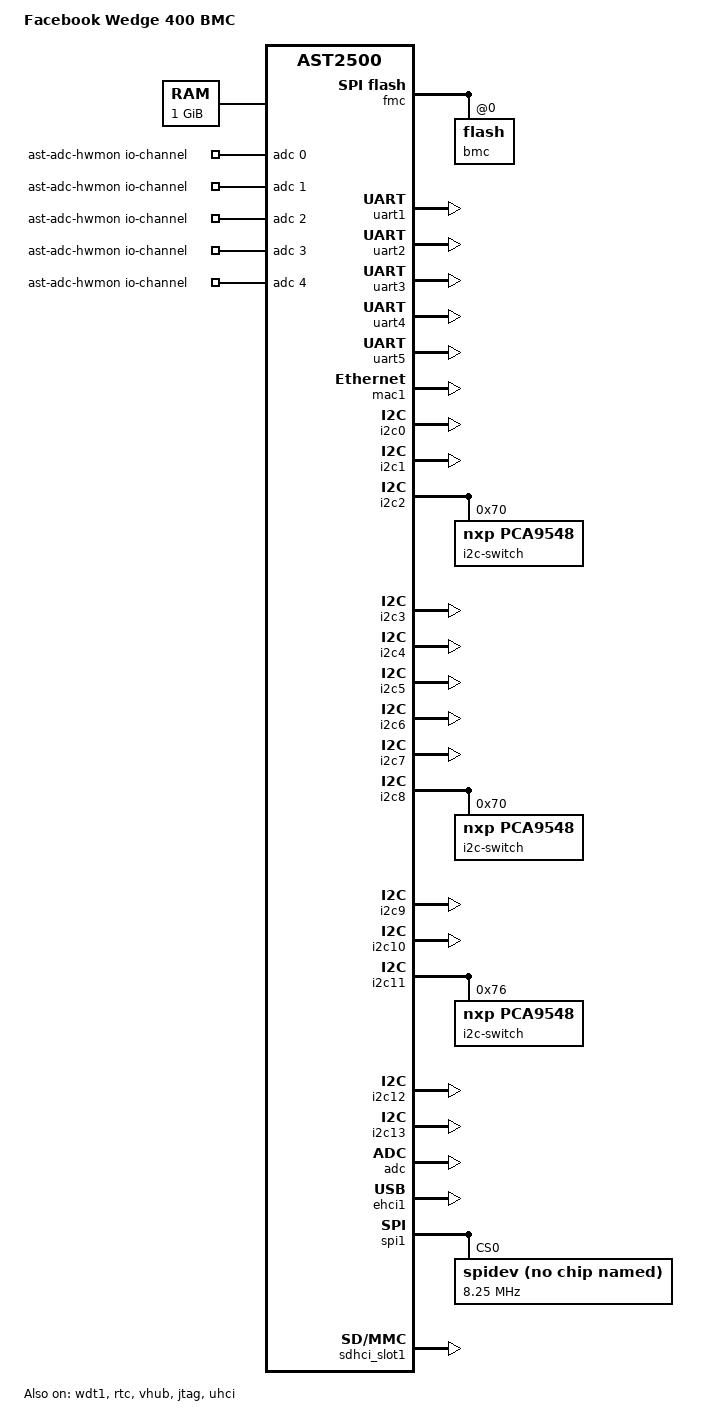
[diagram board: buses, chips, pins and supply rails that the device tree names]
// SPDX-License-Identifier: GPL-2.0+
// Copyright (c) 2019 Facebook Inc.
/dts-v1/;

#include "aspeed-g5.dtsi"
#include <dt-bindings/gpio/aspeed-gpio.h>

/ {
	model = "Facebook Wedge 400 BMC";
	compatible = "facebook,wedge400-bmc", "aspeed,ast2500";

	aliases {
		/*
		 * I2C switch 2-0070, pca9548, total 8 child channels
		 * assigned bus number 14-21.
		 */
		i2c14 = &imux14;
		i2c15 = &imux15;
		i2c16 = &imux16;
		i2c17 = &imux17;
		i2c18 = &imux18;
		i2c19 = &imux19;
		i2c20 = &imux20;
		i2c21 = &imux21;

		/*
		 * I2C switch 8-0070, pca9548, total 8 child channels
		 * assigned bus number 22-29.
		 */
		i2c22 = &imux22;
		i2c23 = &imux23;
		i2c24 = &imux24;
		i2c25 = &imux25;
		i2c26 = &imux26;
		i2c27 = &imux27;
		i2c28 = &imux28;
		i2c29 = &imux29;

		/*
		 * I2C switch 11-0076, pca9548, total 8 child channels
		 * assigned bus number 30-37.
		 */
		i2c30 = &imux30;
		i2c31 = &imux31;
		i2c32 = &imux32;
		i2c33 = &imux33;
		i2c34 = &imux34;
		i2c35 = &imux35;
		i2c36 = &imux36;
		i2c37 = &imux37;
	};

	chosen {
		stdout-path = &uart1;
		bootargs = "console=ttyS0,9600n8 root=/dev/ram rw";
	};

	memory@80000000 {
		reg = <0x80000000 0x40000000>;
	};

	ast-adc-hwmon {
		compatible = "iio-hwmon";
		io-channels = <&adc 0>, <&adc 1>, <&adc 2>, <&adc 3>,
			      <&adc 4>;
	};
};

&wdt1 {
	status = "okay";
	aspeed,reset-type = "system";
};

&wdt2 {
	status = "disabled";
};

&fmc {
	status = "okay";

	flash@0 {
		status = "okay";
		m25p,fast-read;
		label = "bmc";
#include "facebook-bmc-flash-layout.dtsi"
	};
};

&uart1 {
	status = "okay";
	pinctrl-names = "default";
	pinctrl-0 = <&pinctrl_txd1_default
		     &pinctrl_rxd1_default>;
};

&uart2 {
	status = "okay";
	pinctrl-names = "default";
	pinctrl-0 = <&pinctrl_txd2_default
		     &pinctrl_rxd2_default>;
};

&uart3 {
	status = "okay";
	pinctrl-names = "default";
	pinctrl-0 = <&pinctrl_txd3_default
		     &pinctrl_rxd3_default>;
};

&uart4 {
	status = "okay";
	pinctrl-names = "default";
	pinctrl-0 = <&pinctrl_txd4_default
		     &pinctrl_rxd4_default>;
};

&uart5 {
	status = "okay";
};

&mac1 {
	status = "okay";
	no-hw-checksum;
	pinctrl-names = "default";
	pinctrl-0 = <&pinctrl_rgmii2_default &pinctrl_mdio2_default>;
};

&i2c0 {
	status = "okay";
	multi-master;
	bus-frequency = <1000000>;
};

&i2c1 {
	status = "okay";
};

&i2c2 {
	status = "okay";

	i2c-switch@70 {
		compatible = "nxp,pca9548";
		#address-cells = <1>;
		#size-cells = <0>;
		reg = <0x70>;

		imux14: i2c@0 {
			#address-cells = <1>;
			#size-cells = <0>;
			reg = <0>;
		};

		imux15: i2c@1 {
			#address-cells = <1>;
			#size-cells = <0>;
			reg = <1>;
		};

		imux16: i2c@2 {
			#address-cells = <1>;
			#size-cells = <0>;
			reg = <2>;
		};

		imux17: i2c@3 {
			#address-cells = <1>;
			#size-cells = <0>;
			reg = <3>;
		};

		imux18: i2c@4 {
			#address-cells = <1>;
			#size-cells = <0>;
			reg = <4>;
		};

		imux19: i2c@5 {
			#address-cells = <1>;
			#size-cells = <0>;
			reg = <5>;
		};

		imux20: i2c@6 {
			#address-cells = <1>;
			#size-cells = <0>;
			reg = <6>;
		};

		imux21: i2c@7 {
			#address-cells = <1>;
			#size-cells = <0>;
			reg = <7>;
		};
	};
};

&i2c3 {
	status = "okay";
};

&i2c4 {
	status = "okay";
};

&i2c5 {
	status = "okay";
};

&i2c6 {
	status = "okay";
};

&i2c7 {
	status = "okay";
};

&i2c8 {
	status = "okay";

	i2c-switch@70 {
		compatible = "nxp,pca9548";
		#address-cells = <1>;
		#size-cells = <0>;
		reg = <0x70>;

		imux22: i2c@0 {
			#address-cells = <1>;
			#size-cells = <0>;
			reg = <0>;
		};

		imux23: i2c@1 {
			#address-cells = <1>;
			#size-cells = <0>;
			reg = <1>;
		};

		imux24: i2c@2 {
			#address-cells = <1>;
			#size-cells = <0>;
			reg = <2>;
		};

		imux25: i2c@3 {
			#address-cells = <1>;
			#size-cells = <0>;
			reg = <3>;
		};

		imux26: i2c@4 {
			#address-cells = <1>;
			#size-cells = <0>;
			reg = <4>;
		};

		imux27: i2c@5 {
			#address-cells = <1>;
			#size-cells = <0>;
			reg = <5>;
		};

		imux28: i2c@6 {
			#address-cells = <1>;
			#size-cells = <0>;
			reg = <6>;
		};

		imux29: i2c@7 {
			#address-cells = <1>;
			#size-cells = <0>;
			reg = <7>;
		};

	};
};

&i2c9 {
	status = "okay";
};

&i2c10 {
	status = "okay";
};

&i2c11 {
	status = "okay";

	i2c-switch@76 {
		compatible = "nxp,pca9548";
		#address-cells = <1>;
		#size-cells = <0>;
		reg = <0x76>;

		imux30: i2c@0 {
			#address-cells = <1>;
			#size-cells = <0>;
			reg = <0>;
		};

		imux31: i2c@1 {
			#address-cells = <1>;
			#size-cells = <0>;
			reg = <1>;
		};

		imux32: i2c@2 {
			#address-cells = <1>;
			#size-cells = <0>;
			reg = <2>;
		};

		imux33: i2c@3 {
			#address-cells = <1>;
			#size-cells = <0>;
			reg = <3>;
		};

		imux34: i2c@4 {
			#address-cells = <1>;
			#size-cells = <0>;
			reg = <4>;
		};

		imux35: i2c@5 {
			#address-cells = <1>;
			#size-cells = <0>;
			reg = <5>;
		};

		imux36: i2c@6 {
			#address-cells = <1>;
			#size-cells = <0>;
			reg = <6>;
		};

		imux37: i2c@7 {
			#address-cells = <1>;
			#size-cells = <0>;
			reg = <7>;
		};

	};
};

&i2c12 {
	status = "okay";
};

&i2c13 {
	status = "okay";
};

&adc {
	status = "okay";
};

&rtc {
	status = "okay";
};

&ehci1 {
	status = "okay";
};

&vhub {
	status = "okay";
};

&spi1 {
	status = "okay";
	compatible = "aspeed,ast2500-spi-master";

	spidev@0 {
		compatible = "rohm,dh2228fv";
		spi-max-frequency = <8250000>;
		reg = <0>;
	};
};

&sdhci_slot1 {
	status = "okay";
	pinctrl-names = "default";
	pinctrl-0 = <&pinctrl_sd2_default>;
};

&jtag {
	status = "okay";
};

&gpio {
	pin_gpio_a3 {
		gpios = <ASPEED_GPIO(A, 3) GPIO_ACTIVE_LOW>;
		output;
		line-name = "BMC_EMMC_RST_N_R";
	};

	pin_gpio_aa0 {
		gpios = <ASPEED_GPIO(AA, 0) GPIO_ACTIVE_LOW>;
		input;
		line-name = "DEBUG_PRESENT_N";
	};

	pin_gpio_aa1 {
		gpios = <ASPEED_GPIO(AA, 1) GPIO_ACTIVE_LOW>;
		output;
		line-name = "SYS_CPLD_RST_N";
	};

	pin_gpio_aa2 {
		gpios = <ASPEED_GPIO(AA, 2) GPIO_ACTIVE_LOW>;
		input;
		line-name = "SYS_CPLD_INT_N";
	};

	pin_gpio_aa7 {
		gpios = <ASPEED_GPIO(AA, 7) GPIO_ACTIVE_LOW>;
		output;
		line-name = "BMC_SCM_CPLD_EN";
	};

	pin_gpio_ab0 {
		gpios = <ASPEED_GPIO(AB, 0) GPIO_ACTIVE_HIGH>;
		input;
		line-name = "CPLD_INT_BMC";
	};

	pin_gpio_ac5 {
		gpios = <ASPEED_GPIO(AC, 5) GPIO_ACTIVE_LOW>;
		input;
		line-name = "SCM_LPC_FRAME_N";
	};

	pin_gpio_ac6 {
		gpios = <ASPEED_GPIO(AC, 6) GPIO_ACTIVE_LOW>;
		input;
		line-name = "SCM_LPC_SERIRQ_N";
	};

	pin_gpio_ac7 {
		gpios = <ASPEED_GPIO(AC, 7) GPIO_ACTIVE_LOW>;
		input;
		line-name = "BMC_LPCRST_N";
	};

	pin_gpio_e2 {
		gpios = <ASPEED_GPIO(E, 2) GPIO_ACTIVE_HIGH>;
		input;
		line-name = "TH3_POWER_OK";
	};

	pin_gpio_f4 {
		gpios = <ASPEED_GPIO(F, 4) GPIO_ACTIVE_HIGH>;
		both;
		line-name = "CPU_CATERR_MSMI";
	};

	pin_gpio_g0 {
		gpios = <ASPEED_GPIO(G, 0) GPIO_ACTIVE_HIGH>;
		output;
		line-name = "BMC_JTAG_MUX_IN";
	};

	pin_gpio_g1 {
		gpios = <ASPEED_GPIO(G, 1) GPIO_ACTIVE_LOW>;
		output;
		line-name = "DOM_FPGA1_JTAG_EN_N";
	};

	pin_gpio_g2 {
		gpios = <ASPEED_GPIO(G, 2) GPIO_ACTIVE_LOW>;
		output;
		line-name = "DOM_FPGA2_JTAG_EN_N";
	};

	pin_gpio_g4 {
		gpios = <ASPEED_GPIO(G, 4) GPIO_ACTIVE_HIGH>;
		input;
		line-name = "BMC_CPLD_BOARD_REV_ID0";
	};

	pin_gpio_g5 {
		gpios = <ASPEED_GPIO(G, 5) GPIO_ACTIVE_HIGH>;
		input;
		line-name = "BMC_CPLD_BOARD_REV_ID1";
	};

	pin_gpio_g6 {
		gpios = <ASPEED_GPIO(G, 6) GPIO_ACTIVE_HIGH>;
		input;
		line-name = "BMC_CPLD_BOARD_REV_ID2";
	};

	pin_gpio_i4 {
		gpios = <ASPEED_GPIO(I, 4) GPIO_ACTIVE_HIGH>;
		output;
		line-name = "BMC_SPI1_CS0";
	};

	pin_gpio_i5 {
		gpios = <ASPEED_GPIO(I, 5) GPIO_ACTIVE_HIGH>;
		output;
		line-name = "BMC_SPI1_CLK";
	};

	pin_gpio_i6 {
		gpios = <ASPEED_GPIO(I, 6) GPIO_ACTIVE_HIGH>;
		line-name = "BMC_SPI1_MOSI";
	};

	pin_gpio_i7 {
		gpios = <ASPEED_GPIO(I, 7) GPIO_ACTIVE_HIGH>;
		line-name = "BMC_SPI1_MISO";
	};

	pin_gpio_j0 {
		gpios = <ASPEED_GPIO(J, 0) GPIO_ACTIVE_HIGH>;
		output;
		line-name = "PWR_CPLD_JTAG_EN_N";
	};

	pin_gpio_j1 {
		gpios = <ASPEED_GPIO(J, 1) GPIO_ACTIVE_LOW>;
		output;
		line-name = "SYS_CPLD_JTAG_EN_N";
	};

	pin_gpio_j2 {
		gpios = <ASPEED_GPIO(J, 2) GPIO_ACTIVE_LOW>;
		output;
		line-name = "SCM_CPLD_JTAG_EN_N";
	};

	pin_gpio_j3 {
		gpios = <ASPEED_GPIO(J, 3) GPIO_ACTIVE_LOW>;
		output;
		line-name = "FCM_CPLD_JTAG_EN_N";
	};
};

&uhci {
	status = "okay";
};

